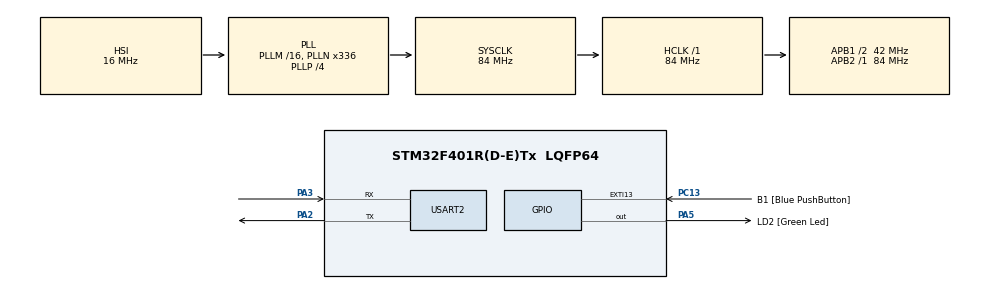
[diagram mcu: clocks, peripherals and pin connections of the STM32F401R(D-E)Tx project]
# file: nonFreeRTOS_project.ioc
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Mcu.Family=STM32F4
Mcu.Name=STM32F401R(D-E)Tx
Mcu.Package=LQFP64
NVIC.PriorityGroup=NVIC_PRIORITYGROUP_0
PA13.GPIO_Label=TMS
PA13.Mode=Serial_Wire
PA13.Signal=SYS_JTMS-SWDIO
PA14.GPIO_Label=TCK
PA14.Mode=Serial_Wire
PA14.Signal=SYS_JTCK-SWCLK
PA2.GPIO_PuPd=GPIO_PULLUP
PA2.Mode=Asynchronous
PA2.Signal=USART2_TX
PA3.GPIO_PuPd=GPIO_PULLUP
PA3.Mode=Asynchronous
PA3.Signal=USART2_RX
PA5.GPIO_Label=LD2 [Green Led]
PA5.GPIO_Mode=GPIO_MODE_OUTPUT_PP
PA5.GPIO_PuPd=GPIO_NOPULL
PA5.GPIO_Speed=GPIO_SPEED_FREQ_LOW
PA5.Signal=GPIO_Output
PB3.GPIO_Label=SWO
PB3.Signal=SYS_JTDO-SWO
PC13-ANTI_TAMP.GPIO_Label=B1 [Blue PushButton]
PC13-ANTI_TAMP.GPIO_ModeDefaultEXTI=GPIO_MODE_IT_FALLING
PC13-ANTI_TAMP.GPIO_PuPd=GPIO_NOPULL
PC13-ANTI_TAMP.Signal=GPXTI13
PC14-OSC32_IN.Mode=LSE-External-Oscillator
PC14-OSC32_IN.Signal=RCC_OSC32_IN
PC15-OSC32_OUT.Mode=LSE-External-Oscillator
PC15-OSC32_OUT.Signal=RCC_OSC32_OUT
PH0\ -\ OSC_IN.Mode=HSE-External-Clock-Source
PH0\ -\ OSC_IN.Signal=RCC_OSC_IN
PH1\ -\ OSC_OUT.Mode=HSE-External-Clock-Source
PH1\ -\ OSC_OUT.Signal=RCC_OSC_OUT
ProjectManager.HeapSize=0x200
ProjectManager.StackSize=0x400
ProjectManager.TargetToolchain=STM32CubeIDE
RCC.48MHZClocksFreq_Value=48000000
RCC.AHBFreq_Value=84000000
RCC.APB1CLKDivider=RCC_HCLK_DIV2
RCC.APB1Freq_Value=42000000
RCC.APB1TimFreq_Value=84000000
RCC.APB2Freq_Value=84000000
RCC.APB2TimFreq_Value=84000000
RCC.CortexFreq_Value=84000000
RCC.HCLKFreq_Value=84000000
RCC.HSE_VALUE=8000000
RCC.HSI_VALUE=16000000
RCC.PLLN=336
RCC.PLLP=RCC_PLLP_DIV4
RCC.PLLQ=7
RCC.SYSCLKFreq_VALUE=84000000
RCC.SYSCLKSource=RCC_SYSCLKSOURCE_PLLCLK
RCC.VCOOutputFreq_Value=336000000
USART2.VirtualMode=VM_ASYNC
board=NUCLEO-F401RE

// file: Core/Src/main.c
/* USER CODE BEGIN Header */
/**
  ******************************************************************************
  * @file           : main.c
  * @brief          : Main program body
  ******************************************************************************
  * @attention
  *
  * Copyright (c) 2023 STMicroelectronics.
  * All rights reserved.
  *
  * This software is licensed under terms that can be found in the LICENSE file
  * in the root directory of this software component.
  * If no LICENSE file comes with this software, it is provided AS-IS.
  *
  ******************************************************************************
  */
/* USER CODE END Header */
#include "main.h"

/* USER CODE BEGIN Includes */
#include <stdio.h>
#include <string.h>
/* USER CODE END Includes */

UART_HandleTypeDef huart2;

/* USER CODE BEGIN PV */
volatile uint32_t countTotal = 0;

extern uint32_t _sdata;      // start of data section, defined in linker script
extern uint32_t _edata;      // end of data section, defined in linker script
extern uint32_t _sbss;       // start of bss section, defined in linker script
extern uint32_t _ebss;       // end of bss section, defined in linker script

/* USER CODE END PV */

void SystemClock_Config(void);
static void MX_GPIO_Init(void);
static void MX_USART2_UART_Init(void);

/* USER CODE BEGIN 0 */
size_t get_used_ram_size(void) {
	// Calculate the size of the stack
	size_t stack_size = (uint32_t)(0x600); // heap + stack

	// Calculate the size of the initialized data section
	size_t data_size = (uint32_t)(&_edata) - (uint32_t)(&_sdata);

	// Calculate the size of the uninitialized data section (bss)
	size_t bss_size = (uint32_t)(&_ebss) - (uint32_t)(&_sbss);

	// Calculate the total size of RAM used by the program
	size_t ram_used = stack_size + data_size + bss_size;

	return ram_used;
}

uint32_t day_fibonaci(uint32_t i)
{
   if(i == 0)
   {
      return 0;
   }
   if(i == 1)
   {
      return 1;
   }
   return day_fibonaci(i-1) + day_fibonaci(i-2);
}

// i: lưu trong phân vùng stack
// countTotal: lưu phân vùng data
void task1_handler(void) {
	uint32_t j = 1;
	for (uint32_t i = 1; i  < 5; i++) {
		j *= i;
	}
	++countTotal;
	printf("c: %ld, r: %ld, t: %ld\n", countTotal, (uint32_t)get_used_ram_size(), HAL_GetTick());
	HAL_Delay( 250UL );
}

void task2_handler(void) {
	uint32_t j = 1;
	for (uint32_t i = 1; i  < 5; i++) {
		j *= i;
	}
	++countTotal;
	printf("c: %ld, r: %ld, t: %ld\n", countTotal, (uint32_t)get_used_ram_size(), HAL_GetTick());
	HAL_Delay( 250UL );
}

void task3_handler(void) {
	uint32_t j = 1;
	for (uint32_t i = 1; i  < 5; i++) {
		j *= i;
	}
	++countTotal;
	printf("c: %ld, r: %ld, t: %ld\n", countTotal, (uint32_t)get_used_ram_size(), HAL_GetTick());
	HAL_Delay( 250UL );
}

void task4_handler(void) {
	uint32_t j = 1;
	for (uint32_t i = 1; i  < 5; i++) {
		j *= i;
	}
	++countTotal;
	printf("c: %ld, r: %ld, t: %ld\n", countTotal, (uint32_t)get_used_ram_size(), HAL_GetTick());
	HAL_Delay( 250UL );
}

void task5_handler(void) {
	uint32_t j = 1;
	for (uint32_t i = 1; i  < 5; i++) {
		j *= i;
	}
	++countTotal;
	printf("c: %ld, r: %ld, t: %ld\n", countTotal, (uint32_t)get_used_ram_size(), HAL_GetTick());
	HAL_Delay( 250UL );
}

/* USER CODE END 0 */

int main(void)
{

	/* MCU Configuration--------------------------------------------------------*/

	/* Reset of all peripherals, Initializes the Flash interface and the Systick. */
	HAL_Init();

	/* Configure the system clock */
	SystemClock_Config();

	/* Initialize all configured peripherals */
	MX_GPIO_Init();
	MX_USART2_UART_Init();

	/* Infinite loop */
	while (1)
	{
		task1_handler();
		task2_handler();
		task3_handler();
		task4_handler();
		task5_handler();
	}
}

void SystemClock_Config(void)
{
	RCC_OscInitTypeDef RCC_OscInitStruct = {0};
	RCC_ClkInitTypeDef RCC_ClkInitStruct = {0};

	/** Configure the main internal regulator output voltage
	*/
	__HAL_RCC_PWR_CLK_ENABLE();
	__HAL_PWR_VOLTAGESCALING_CONFIG(PWR_REGULATOR_VOLTAGE_SCALE2);

	/** Initializes the RCC Oscillators according to the specified parameters
	* in the RCC_OscInitTypeDef structure.
	*/
	RCC_OscInitStruct.OscillatorType = RCC_OSCILLATORTYPE_HSI;
	RCC_OscInitStruct.HSIState = RCC_HSI_ON;
	RCC_OscInitStruct.HSICalibrationValue = RCC_HSICALIBRATION_DEFAULT;
	RCC_OscInitStruct.PLL.PLLState = RCC_PLL_ON;
	RCC_OscInitStruct.PLL.PLLSource = RCC_PLLSOURCE_HSI;
	RCC_OscInitStruct.PLL.PLLM = 16;
	RCC_OscInitStruct.PLL.PLLN = 336;
	RCC_OscInitStruct.PLL.PLLP = RCC_PLLP_DIV4;
	RCC_OscInitStruct.PLL.PLLQ = 7;
	if (HAL_RCC_OscConfig(&RCC_OscInitStruct) != HAL_OK)
	{
		Error_Handler();
	}

	/** Initializes the CPU, AHB and APB buses clocks
	*/
	RCC_ClkInitStruct.ClockType = RCC_CLOCKTYPE_HCLK|RCC_CLOCKTYPE_SYSCLK
							      |RCC_CLOCKTYPE_PCLK1|RCC_CLOCKTYPE_PCLK2;
	RCC_ClkInitStruct.SYSCLKSource = RCC_SYSCLKSOURCE_PLLCLK;
	RCC_ClkInitStruct.AHBCLKDivider = RCC_SYSCLK_DIV1;
	RCC_ClkInitStruct.APB1CLKDivider = RCC_HCLK_DIV2;
	RCC_ClkInitStruct.APB2CLKDivider = RCC_HCLK_DIV1;

	if (HAL_RCC_ClockConfig(&RCC_ClkInitStruct, FLASH_LATENCY_2) != HAL_OK)
	{
		Error_Handler();
	}
}

static void MX_USART2_UART_Init(void)
{

	huart2.Instance = USART2;
	huart2.Init.BaudRate = 115200;
	huart2.Init.WordLength = UART_WORDLENGTH_8B;
	huart2.Init.StopBits = UART_STOPBITS_1;
	huart2.Init.Parity = UART_PARITY_NONE;
	huart2.Init.Mode = UART_MODE_TX_RX;
	huart2.Init.HwFlowCtl = UART_HWCONTROL_NONE;
	huart2.Init.OverSampling = UART_OVERSAMPLING_16;
	if (HAL_UART_Init(&huart2) != HAL_OK)
	{
	Error_Handler();
	}
}

static void MX_GPIO_Init(void)
{
	GPIO_InitTypeDef GPIO_InitStruct = {0};

	/* GPIO Ports Clock Enable */
	__HAL_RCC_GPIOC_CLK_ENABLE();
	__HAL_RCC_GPIOH_CLK_ENABLE();
	__HAL_RCC_GPIOA_CLK_ENABLE();
	__HAL_RCC_GPIOB_CLK_ENABLE();

	/*Configure GPIO pin Output Level */
	HAL_GPIO_WritePin(LD2_GPIO_Port, LD2_Pin, GPIO_PIN_RESET);

	/*Configure GPIO pin : B1_Pin */
	GPIO_InitStruct.Pin = B1_Pin;
	GPIO_InitStruct.Mode = GPIO_MODE_IT_FALLING;
	GPIO_InitStruct.Pull = GPIO_NOPULL;
	HAL_GPIO_Init(B1_GPIO_Port, &GPIO_InitStruct);

	/*Configure GPIO pin : LD2_Pin */
	GPIO_InitStruct.Pin = LD2_Pin;
	GPIO_InitStruct.Mode = GPIO_MODE_OUTPUT_PP;
	GPIO_InitStruct.Pull = GPIO_NOPULL;
	GPIO_InitStruct.Speed = GPIO_SPEED_FREQ_LOW;
	HAL_GPIO_Init(LD2_GPIO_Port, &GPIO_InitStruct);
}

void Error_Handler(void)
{
	__disable_irq();
	while (1)
	{
	}
}
